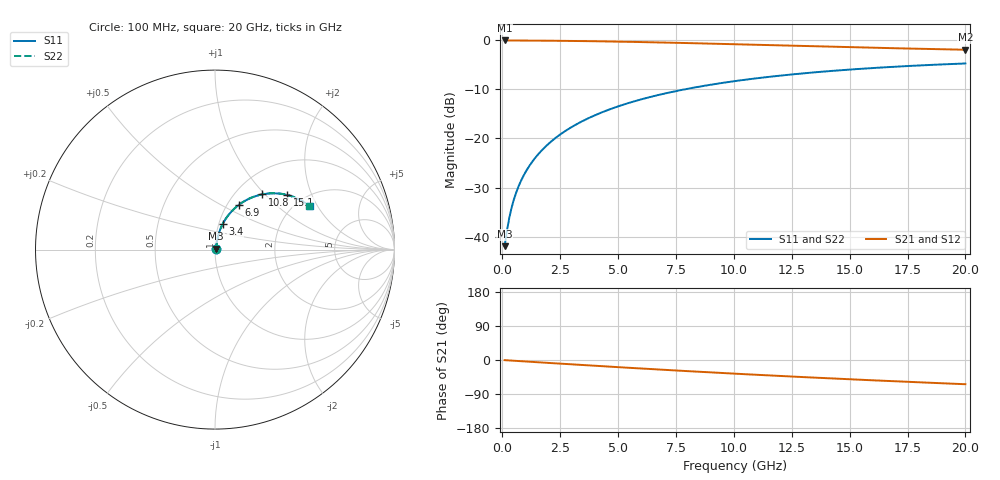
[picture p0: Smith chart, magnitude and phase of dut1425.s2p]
! Touchstone file exported from HFSS 2026.1.0
!  File:  C:/ffzhzh/LocalFiles/Ansys_Project_Files/temp_train_TMRDL_1425_1783166774_55132.aedt
!  Generated:  08:07:40 PM Jul  4, 2026
!  Design:  TMRDL
!  Project:  temp_train_TMRDL_1425_1783166774_55132
! Variables:
!  h_bsmrdl = 2um
!  h_ox = 20um
!  h_rdl = 5um
!  h_sub = 80um
!  h_tmrdl = 3.39um
!  h_tsv = 80um
!  h_via = 3um
!  l_bsmrdl = 300um
!  l_sub = 1390.18um
!  l_tmrdl = 990.18um
!  m_sub = 200um
!  pitch = 47.29um
!  r_tsv = 6um
!  s_tmrdl = 10um
!  w_bsmrdl = 18um
!  w_sub = 500um
!  w_tmrdl = 15.99um
!  x_tsv_center1 = 998.175um
!  x_tsv_center2 = 1316.175um
!  x_tsv_center3 = 2322.345um
!  x_tsv_center4 = 2640.345um
!  x_tsv_center5 = 3646.515um
!  x_tsv_center6 = 3964.515um
# GHz S MA R 50.000000
! Terminal data exported
! Port[1] = TM_RDL1_1_T1
! Port[2] = TM_RDL1_1_T2
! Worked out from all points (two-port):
!   200 points, 100 MHz to 20 GHz, reference 50 ohm
!   highest |S21| = -0.06 dB at 100 MHz (marker M1); lowest = -1.9 dB at 20 GHz (marker M2)
!   |S21| within 3 dB of the highest: start of sweep to end of sweep
!   lowest |S11| = -41.9 dB at 100 MHz (marker M3), VSWR 1.02, Z = 50.7 + j0.472 ohm
!   |S11| at or under -10 dB: start of sweep to 7.882 GHz
!   |S22| runs from -41.9 to -4.7 dB; largest |S21 - S12| = 3.1e-15
!   S11 on the Smith chart (normalised r, x): 100 MHz: 1.01, +0.01; 3.4 GHz: 1.04, +0.30; 6.9 GHz: 1.13, +0.61; 10.8 GHz: 1.31, +0.96; 15.1 GHz: 1.66, +1.35; 20 GHz: 2.36, +1.71
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0.1  0.008023 35.5  0.9935 -0.4  0.9935 -0.4  0.008023 35.5
! Gamma 0 0 0 0
! Port Impedance 50 0 50 0
0.2  0.01147 53.8  0.9933 -0.8  0.9933 -0.8  0.01147 53.8
0.3  0.0155 62.6  0.9931 -1.2  0.9931 -1.2  0.0155 62.6
0.4  0.01969 67.5  0.9928 -1.6  0.9928 -1.6  0.01969 67.5
0.5  0.02393 70.5  0.9925 -2.0  0.9925 -2.0  0.02393 70.5
0.6  0.02818 72.5  0.9923 -2.4  0.9923 -2.4  0.02818 72.5
0.8  0.03674 75.0  0.9918 -3.1  0.9918 -3.1  0.03674 75.0
1.1  0.04964 76.7  0.991 -4.3  0.991 -4.3  0.04964 76.7
1.5  0.06689 77.3  0.9898 -5.8  0.9898 -5.8  0.06689 77.3
2  0.08841 76.9  0.9878 -7.7  0.9878 -7.7  0.08841 76.9
2.6  0.114 75.6  0.9848 -10.0  0.9848 -10.0  0.114 75.7
3.4  0.1476 73.4  0.9799 -13.0  0.9799 -13.0  0.1476 73.5
3.5  0.1517 73.1  0.9792 -13.4  0.9792 -13.4  0.1517 73.2
5  0.212 68.3  0.9668 -18.9  0.9668 -18.9  0.212 68.3
6.8  0.279 62.2  0.9484 -25.3  0.9484 -25.3  0.279 62.3
6.9  0.2826 61.9  0.9473 -25.6  0.9473 -25.6  0.2826 62.0
10.1  0.385 51.6  0.9089 -36.3  0.9089 -36.3  0.385 51.7
10.8  0.4046 49.4  0.9001 -38.5  0.9001 -38.5  0.4046 49.6
13.4  0.4689 41.8  0.868 -46.3  0.868 -46.3  0.4689 42.0
15.1  0.5042 37.1  0.8481 -51.1  0.8481 -51.1  0.5041 37.3
16.7  0.5328 32.8  0.8306 -55.5  0.8306 -55.5  0.5328 33.0
20  0.5795 24.6  0.7995 -63.9  0.7995 -63.9  0.5795 24.8
